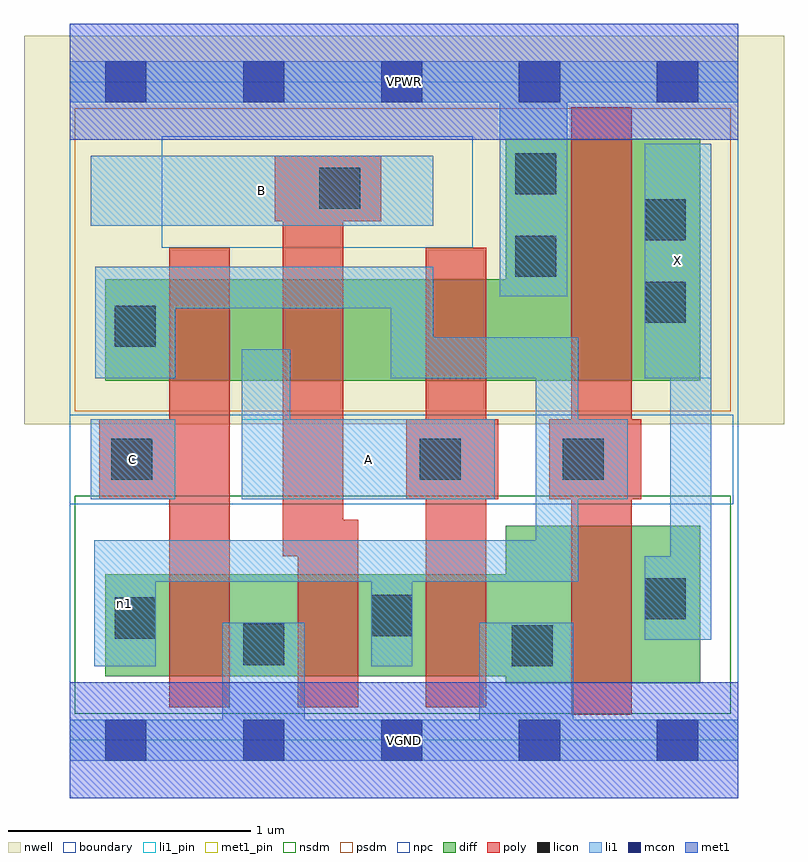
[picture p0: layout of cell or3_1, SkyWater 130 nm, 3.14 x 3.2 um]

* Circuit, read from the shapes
.subckt or3_1 A B C VGND VPWR X n1
XM1 VGND C n1 VSUBS sky130_fd_pr__nfet_01v8 w=0.42 l=0.25
XM2 n1 B VGND VSUBS sky130_fd_pr__nfet_01v8 w=0.42 l=0.25
XM3 VGND A n1 VSUBS sky130_fd_pr__nfet_01v8 w=0.42 l=0.25
XM4 X n1 VGND VSUBS sky130_fd_pr__nfet_01v8 w=0.65 l=0.25
XM5 n2 C n1 n3 sky130_fd_pr__pfet_01v8 w=0.42 l=0.25
XM6 n4 B n2 n3 sky130_fd_pr__pfet_01v8 w=0.42 l=0.25
XM7 VPWR A n4 n3 sky130_fd_pr__pfet_01v8 w=0.42 l=0.25
XM8 X n1 VPWR n3 sky130_fd_pr__pfet_01v8 w=1 l=0.25
.ends

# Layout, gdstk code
import gdstk
lib = gdstk.Library(unit=1e-6, precision=1e-09)
def R(c, l, rs):  # rectangles x0, y0, x1, y1
    for r in rs: c.add(gdstk.rectangle(r[:2], r[2:], *l))
def A(c, l, x, y, w, h, nx, ny, dx, dy):  # array of equal rectangles
    R(c, l, [(x+i*dx, y+j*dy, x+i*dx+w, y+j*dy+h) for i in range(nx) for j in range(ny)])
nwell = (64, 20)
diff = (65, 20)
poly = (66, 20)
licon = (66, 44)
li1_pin = (67, 16)
li1 = (67, 20)
mcon = (67, 44)
met1_pin = (68, 16)
met1 = (68, 20)
nsdm = (93, 44)
psdm = (94, 20)
npc = (95, 20)
boundary = (235, 4)

or3_1 = lib.new_cell('or3_1')
R(or3_1, nwell, [(-0.19,1.305,2.95,2.91), (0,1.305,2.76,2.91)])
R(or3_1, diff, [(1.8,0.235,2.605,0.885), (0.145,0.265,2.605,0.685), (0.145,1.485,2.605,1.905), (1.8,1.485,2.605,2.485)])
R(or3_1, poly, [(2.07,0.105,2.32,2.615), (0.41,0.135,0.66,2.035), (0.94,0.135,1.19,0.91), (1.47,0.135,1.72,2.035), (0.88,0.76,1.13,2.415), (0.12,0.995,0.66,1.325), (1.39,0.995,1.77,1.325), (1.98,0.995,2.36,1.325), (0.845,2.145,1.285,2.415)])
R(or3_1, licon, [(1.825,0.305,1.995,0.475), (0.715,0.31,0.885,0.48), (0.185,0.42,0.355,0.59), (1.245,0.43,1.415,0.6), (2.375,0.5,2.545,0.67), (0.17,1.075,0.34,1.245), (1.445,1.075,1.615,1.245), (2.035,1.075,2.205,1.245), (0.185,1.625,0.355,1.795), (2.375,1.725,2.545,1.895), (1.84,1.915,2.01,2.085), (2.375,2.065,2.545,2.235), (1.03,2.195,1.2,2.365), (1.84,2.255,2.01,2.425)])
R(or3_1, li1_pin, [(0.085,0.995,0.435,1.325), (0.71,0.995,1.755,1.325), (2.375,1.495,2.65,2.465), (0.085,2.125,1.5,2.415)])
R(or3_1, li1, [(0,-0.085,2.76,0.085), (0.63,-0.085,0.97,0.485), (1.69,-0.085,2.08,0.485), (0.1,0.305,0.355,0.825), (1.245,0.305,1.415,0.825), (2.375,0.415,2.65,0.76), (2.48,0.415,2.65,2.465), (0.1,0.655,2.1,0.825), (1.925,0.655,2.1,1.665), (0.085,0.995,0.435,1.325), (0.71,0.995,1.755,1.325), (0.71,0.995,0.91,1.615), (1.925,0.995,2.305,1.325), (0.105,1.495,0.435,1.955), (1.325,1.495,2.1,1.665), (1.325,1.495,1.5,1.955), (2.375,1.495,2.65,2.465), (0.105,1.785,1.5,1.955), (1.775,1.835,2.055,2.805), (0.085,2.125,1.5,2.415), (0,2.635,2.76,2.805)])
A(or3_1, mcon, 0.145, -0.085, 0.17, 0.17, 5, 2, 0.57, 2.72)
R(or3_1, met1_pin, [(0,-0.24,2.76,0.24), (0,2.48,2.76,2.96)])
R(or3_1, met1, [(0,-0.24,2.76,0.24), (0,2.48,2.76,2.96)])
R(or3_1, nsdm, [(0.02,0.11,2.73,1.01)])
R(or3_1, psdm, [(0.02,1.36,2.73,2.61)])
R(or3_1, npc, [(0,0.975,2.74,1.345), (0.38,2.035,1.665,2.495)])
R(or3_1, boundary, [(0,0,2.76,2.72)])
or3_1.add(gdstk.Label('A', (1.232,1.16), layer=67, texttype=5))
or3_1.add(gdstk.Label('B', (0.792,2.27), layer=67, texttype=5))
or3_1.add(gdstk.Label('C', (0.26,1.16), layer=67, texttype=5))
or3_1.add(gdstk.Label('X', (2.512,1.98), layer=67, texttype=5))
or3_1.add(gdstk.Label('n1', (0.227,0.565), layer=67, texttype=5))
or3_1.add(gdstk.Label('VPWR', (1.38,2.72), layer=68, texttype=5))
or3_1.add(gdstk.Label('VGND', (1.38,0), layer=68, texttype=5))
or3_1.add(gdstk.Label('A', (1.232,1.16), layer=67, texttype=16))
or3_1.add(gdstk.Label('B', (0.792,2.27), layer=67, texttype=16))
or3_1.add(gdstk.Label('C', (0.26,1.16), layer=67, texttype=16))
or3_1.add(gdstk.Label('X', (2.512,1.98), layer=67, texttype=16))
or3_1.add(gdstk.Label('VPWR', (1.38,2.72), layer=68, texttype=16))
or3_1.add(gdstk.Label('VGND', (1.38,0), layer=68, texttype=16))

lib.write_gds('or3_1.gds')
